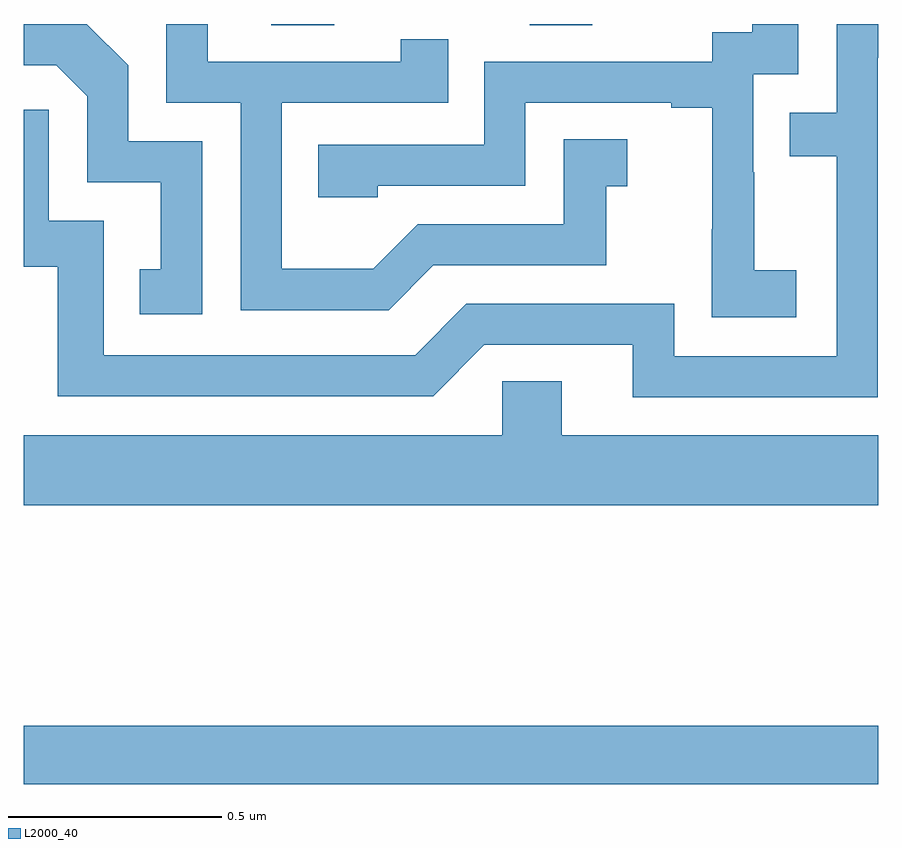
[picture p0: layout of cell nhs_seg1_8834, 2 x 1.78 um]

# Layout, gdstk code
import gdstk
lib = gdstk.Library(unit=1e-6, precision=1e-09)
def R(c, l, rs):  # rectangles x0, y0, x1, y1
    for r in rs: c.add(gdstk.rectangle(r[:2], r[2:], *l))
def P(c, l, *ps):  # polygons
    for p in ps: c.add(gdstk.Polygon(p, *l))
L2000_40 = (2000, 40)

nhs_seg1_8834 = lib.new_cell('nhs_seg1_8834')
R(nhs_seg1_8834, L2000_40, [(221,544.42,223,544.556), (221.579,546.196,221.727,546.199), (222.184,546.196,222.331,546.199)])
P(nhs_seg1_8834, L2000_40, [(222.808,545.623),(222.71,545.623),(222.71,545.852),(222.708,545.852),(222.708,546.081),(222.813,546.081),(222.813,546.199),(222.705,546.199),(222.705,546.18),(222.612,546.18),(222.612,546.111),(222.078,546.111),(222.078,545.916),(221.689,545.916),(221.689,545.793),(221.829,545.793),(221.829,545.82),(222.174,545.82),(222.174,546.015),(222.515,546.015),(222.515,546.003),(222.611,546.003),(222.611,545.719),(222.61,545.719),(222.61,545.513),(222.808,545.513)],
  [(221.418,545.925),(221.244,545.925),(221.244,546.102),(221.147,546.199),(221,546.199),(221,546.102),(221.076,546.102),(221.148,546.03),(221.148,545.829),(221.321,545.829),(221.321,545.625),(221.272,545.625),(221.272,545.52),(221.418,545.52)],
  [(221.959,545.634),(222.363,545.634),(222.363,545.819),(222.412,545.819),(222.412,545.929),(222.264,545.929),(222.264,545.73),(221.922,545.73),(221.818,545.626),(221.604,545.626),(221.604,546.015),(221.993,546.015),(221.993,546.163),(221.882,546.163),(221.882,546.111),(221.431,546.111),(221.431,546.199),(221.334,546.199),(221.334,546.015),(221.508,546.015),(221.508,545.529),(221.854,545.529)],
  [(222.999,546.12),(223,546.12),(223,546.199),(222.903,546.199),(222.903,545.991),(222.793,545.991),(222.793,545.89),(222.903,545.89),(222.903,545.421),(222.522,545.421),(222.522,545.544),(222.036,545.544),(221.916,545.424),(221.187,545.424),(221.187,545.739),(221.058,545.739),(221.058,545.998),(221,545.998),(221,545.631),(221.079,545.631),(221.079,545.328),(221.958,545.328),(222.078,545.448),(222.425,545.448),(222.425,545.325),(222.999,545.325)],
  [(223,545.236),(222.259,545.236),(222.259,545.363),(222.12,545.363),(222.12,545.236),(221,545.236),(221,545.072),(223,545.072)])

lib.write_gds('nhs_seg1_8834.gds')
